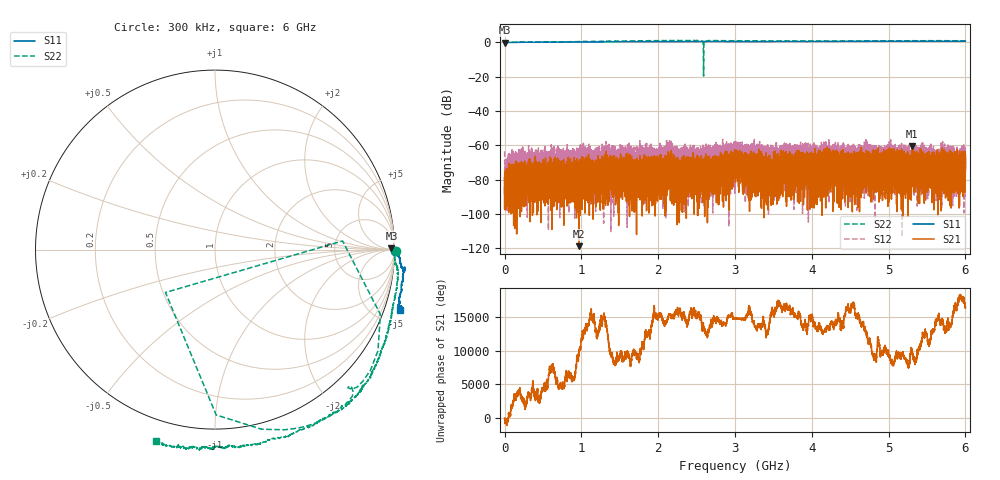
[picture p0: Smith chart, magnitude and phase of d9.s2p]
!Agilent Technologies,N5230C,SG49000117,A.08.50.07
!Agilent N5230C: A.08.50.07
!Date: Thursday, May 16, 2024 21:19:19
!Correction: S11(Full 2 Port(1,2))
!S21(Full 2 Port(1,2))
!S12(Full 2 Port(1,2))
!S22(Full 2 Port(1,2))
!S2P File: Measurements: S11, S21, S12, S22:
# Hz S  MA  R 50
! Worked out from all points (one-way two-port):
!   20001 points, 300 kHz to 6 GHz, reference 50 ohm
!   highest |S21| = -60.38 dB at 5.309 GHz (marker M1); lowest = -118.9 dB at 969.6 MHz (marker M2)
!   lowest |S11| = -0.1 dB at 600 kHz (marker M3), VSWR 117.58, Z = 4.94e+03 + j2.16e+03 ohm
!   |S11| at or under -10 dB: nowhere
!   |S22| runs from -19.6 to 1.1 dB; largest |S21 - S12| = 0.0018
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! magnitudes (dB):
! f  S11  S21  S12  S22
! 300 kHz  0.0  -84.5  -63.5  0.1
! 600 kHz  -0.1  -97.0  -70.5  -0.3
! 32.1 MHz  0.0  -77.9  -76.3  0.0
! 162.6 MHz  0.0  -73.4  -74.6  0.1
! 969.6 MHz  0.3  -118.9  -65.8  0.5
! 1 GHz  0.3  -94.2  -80.6  0.5
! 1.147 GHz  0.3  -84.8  -70.1  0.6
! 2 GHz  0.5  -80.4  -68.3  1.0
! 2.151 GHz  0.5  -72.6  -71.9  1.1
! 2.251 GHz  0.5  -72.8  -68.7  1.1
! 2.67 GHz  0.5  -83.6  -60.0  1.0
! 3 GHz  0.5  -72.2  -70.0  1.0
! 3.468 GHz  0.5  -73.0  -63.9  0.8
! 3.625 GHz  0.5  -67.7  -71.9  0.9
! 4 GHz  0.5  -65.4  -68.8  0.9
! 4.202 GHz  0.6  -69.1  -60.5  0.8
! 4.462 GHz  0.7  -67.7  -70.6  0.8
! 5 GHz  0.7  -83.2  -68.8  0.9
! 5.309 GHz  0.7  -60.4  -82.3  1.0
! 5.773 GHz  0.7  -79.9  -67.0  1.0
! 5.903 GHz  0.7  -73.4  -72.7  1.0
! 6 GHz  0.7  -73.7  -64.9  0.9
